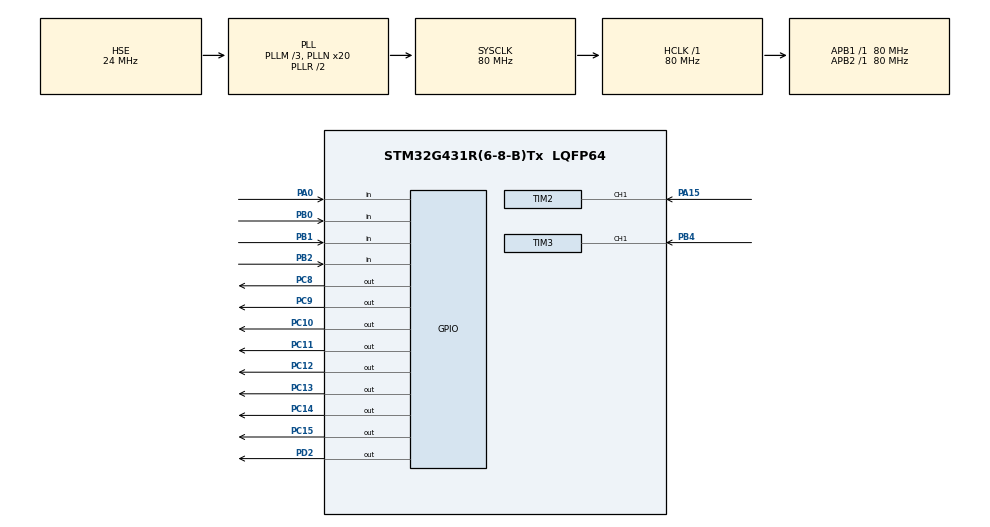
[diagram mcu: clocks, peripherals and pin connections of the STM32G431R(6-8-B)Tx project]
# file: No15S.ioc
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Mcu.Family=STM32G4
Mcu.Name=STM32G431R(6-8-B)Tx
Mcu.Package=LQFP64
NVIC.PriorityGroup=NVIC_PRIORITYGROUP_4
NVIC.TIM1_TRG_COM_TIM17_IRQn=true\:0\:0\:false\:false\:true\:true\:true\:true
NVIC.TIM2_IRQn=true\:0\:0\:false\:false\:true\:true\:true\:true
NVIC.TIM3_IRQn=true\:0\:0\:false\:false\:true\:true\:true\:true
PA0.GPIO_PuPd=GPIO_PULLUP
PA0.Signal=GPIO_Input
PA13.Mode=Serial_Wire
PA13.Signal=SYS_JTMS-SWDIO
PA14.Mode=Serial_Wire
PA14.Signal=SYS_JTCK-SWCLK
PA15.Signal=S_TIM2_CH1
PB0.GPIO_PuPd=GPIO_PULLUP
PB0.Signal=GPIO_Input
PB1.GPIO_PuPd=GPIO_PULLUP
PB1.Signal=GPIO_Input
PB2.GPIO_PuPd=GPIO_PULLUP
PB2.Signal=GPIO_Input
PB4.Signal=S_TIM3_CH1
PC10.PinState=GPIO_PIN_SET
PC10.Signal=GPIO_Output
PC11.PinState=GPIO_PIN_SET
PC11.Signal=GPIO_Output
PC12.PinState=GPIO_PIN_SET
PC12.Signal=GPIO_Output
PC13.PinState=GPIO_PIN_SET
PC13.Signal=GPIO_Output
PC14-OSC32_IN.PinState=GPIO_PIN_SET
PC14-OSC32_IN.Signal=GPIO_Output
PC15-OSC32_OUT.PinState=GPIO_PIN_SET
PC15-OSC32_OUT.Signal=GPIO_Output
PC8.PinState=GPIO_PIN_SET
PC8.Signal=GPIO_Output
PC9.PinState=GPIO_PIN_SET
PC9.Signal=GPIO_Output
PD2.Signal=GPIO_Output
PF0-OSC_IN.Mode=HSE-External-Oscillator
PF0-OSC_IN.Signal=RCC_OSC_IN
PF1-OSC_OUT.Mode=HSE-External-Oscillator
PF1-OSC_OUT.Signal=RCC_OSC_OUT
ProjectManager.HeapSize=0x200
ProjectManager.StackSize=0x400
ProjectManager.TargetToolchain=MDK-ARM V5.32
RCC.ADC12Freq_Value=80000000
RCC.AHBFreq_Value=80000000
RCC.APB1Freq_Value=80000000
RCC.APB1TimFreq_Value=80000000
RCC.APB2Freq_Value=80000000
RCC.APB2TimFreq_Value=80000000
RCC.CortexFreq_Value=80000000
RCC.EXTERNAL_CLOCK_VALUE=12288000
RCC.HCLKFreq_Value=80000000
RCC.HSE_VALUE=24000000
RCC.HSI48_VALUE=48000000
RCC.HSI_VALUE=16000000
RCC.LSE_VALUE=32768
RCC.PLLM=RCC_PLLM_DIV3
RCC.PLLN=20
RCC.PLLSourceVirtual=RCC_PLLSOURCE_HSE
RCC.SYSCLKFreq_VALUE=80000000
RCC.SYSCLKSource=RCC_SYSCLKSOURCE_PLLCLK
RCC.USBFreq_Value=80000000
RCC.VCOOutputFreq_Value=160000000
SH.S_TIM2_CH1.0=TIM2_CH1,Input_Capture1_from_TI1
SH.S_TIM3_CH1.0=TIM3_CH1,Input_Capture1_from_TI1
TIM17.PeriodNoDither=10000-1
TIM17.Prescaler=80-1
TIM2.Channel-Input_Capture1_from_TI1=TIM_CHANNEL_1
TIM2.Prescaler=80-1
TIM3.Channel-Input_Capture1_from_TI1=TIM_CHANNEL_1
TIM3.Prescaler=80-1
VP_SYS_VS_DBSignals.Mode=DisableDeadBatterySignals
VP_TIM17_VS_ClockSourceINT.Mode=Enable_Timer
VP_TIM2_VS_ClockSourceINT.Mode=Internal
VP_TIM3_VS_ClockSourceINT.Mode=Internal
board=custom

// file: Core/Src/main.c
/* USER CODE BEGIN Header */
/**
  ******************************************************************************
  * @file           : main.c
  * @brief          : Main program body
  ******************************************************************************
  * @attention
  *
  * Copyright (c) 2024 STMicroelectronics.
  * All rights reserved.
  *
  * This software is licensed under terms that can be found in the LICENSE file
  * in the root directory of this software component.
  * If no LICENSE file comes with this software, it is provided AS-IS.
  *
  ******************************************************************************
  */
/* USER CODE END Header */
#include "main.h"
#include "tim.h"
#include "gpio.h"

/* USER CODE BEGIN Includes */
#include "mymain.h"

/* USER CODE END Includes */

void SystemClock_Config(void);

/* USER CODE BEGIN 0 */
char text[50];
int A_frq,B_frq;
int A_pri,B_pri;
int PX=0,PD=1000,PH=5000;
int NDA=0,NDB=0,NHA,NHB;
int A_data[30],B_data[30];
uint8_t aflag=0,bflag=0;

void IC_handle(){
	static uint8_t ic_l=1,ic_r=0;
	if(uwTick%100>50)ic_r=1;
	else ic_r=0;

	if(ic_l==0&&ic_r==1){
		A_frq=(1000000/ic1)+PX;
		B_frq=(1000000/ic2)+PX;

		A_pri=1000000/A_frq;
		B_pri=1000000/B_frq;

		//PH
		static uint8_t pha_l=1,pha_r=0,phb_l=1,phb_r=0;
		//A
		if(A_frq>PH)pha_r=1;
		else pha_r=0;

		if(pha_l==0&&pha_r==1)NHA++;
		pha_l=pha_r;

		//B
		if(B_frq>PH)phb_r=1;
		else phb_r=0;

		if(phb_l==0&&phb_r==1)NHB++;
		phb_l=phb_r;

		//PD
		A_data[aflag]=A_frq;
		aflag=(aflag+1)%30;
		B_data[bflag]=B_frq;
		bflag=(bflag+1)%30;

		int amin,amax,bmin,bmax;
		uint8_t amark,bmark;
		amark=bmark=0;
//		amin=bmin=50000;
//		amax=bmax=-50000;
		for(int i=0;i<30;i++){
			if(A_data[i]==0x01010101)continue;

			amark++;
			if(amark==1)amin=amax=A_data[i];
			if(A_data[i]<amin)amin=A_data[i];
			if(A_data[i]>amax)amax=A_data[i];
		}
		if(amax-amin>PD&&amark>0){
			NDA++;
			memset(A_data,1,sizeof(A_data));
			aflag=0;
		}

		for(int i=0;i<30;i++){
			if(B_data[i]==0x01010101)continue;

			bmark++;
			if(bmark==1)bmin=bmax=B_data[i];
			if(B_data[i]<bmin)bmin=B_data[i];
			if(B_data[i]>bmax)bmax=B_data[i];
		}
		if(bmax-bmin>PD&&bmark>0){
			NDB++;
			memset(B_data,1,sizeof(B_data));
			bflag=0;
		}
	}

	ic_l=ic_r;

}

uint8_t lcd_flag=0;
uint8_t data_swit=0,para_swit=0;
void lcd_sch(){
	if(lcd_flag==0){

		if(data_swit==0){
			sprintf(text,"        DATA  ");
			LCD_DisplayStringLine(Line1, (unsigned char *)text);

			if(A_frq<0)sprintf(text,"     A=NULL    ");
			else if(A_frq<1000)sprintf(text,"     A=%dHz    ",A_frq);
			else	sprintf(text,"     A=%.2fKHz    ",(float)A_frq/1000);
			LCD_DisplayStringLine(Line3, (unsigned char *)text);

			if(B_frq<0)sprintf(text,"     B=NULL    ");
			else if(B_frq<1000)sprintf(text,"     B=%dHz    ",B_frq);
			else	sprintf(text,"     B=%.2fKHz    ",(float)B_frq/1000);
			LCD_DisplayStringLine(Line4, (unsigned char *)text);
		}

		else{
			sprintf(text,"        DATA  ");
			LCD_DisplayStringLine(Line1, (unsigned char *)text);

			if(A_pri<0)sprintf(text,"     A=NULL    ");
			else if(A_pri<1000)sprintf(text,"     A=%dus    ",A_pri);
			else	sprintf(text,"     A=%.2fms    ",(float)A_pri/1000);
			LCD_DisplayStringLine(Line3, (unsigned char *)text);

			if(B_pri<0)sprintf(text,"     B=NULL    ");
			else if(B_pri<1000)sprintf(text,"     B=%dus    ",B_pri);
			else	sprintf(text,"     B=%.2fms    ",(float)B_pri/1000);
			LCD_DisplayStringLine(Line4, (unsigned char *)text);
		}
	}

	if(lcd_flag==1){
		sprintf(text,"        PARA  ");
		LCD_DisplayStringLine(Line1, (unsigned char *)text);

		sprintf(text,"     PD=%dHz  ",PD);
		LCD_DisplayStringLine(Line3, (unsigned char *)text);

		sprintf(text,"     PH=%dHz  ",PH);
		LCD_DisplayStringLine(Line4, (unsigned char *)text);

		sprintf(text,"     PX=%dHz  ",PX);
		LCD_DisplayStringLine(Line5, (unsigned char *)text);

	}

	if(lcd_flag==2){
		sprintf(text,"        RECD  ");
		LCD_DisplayStringLine(Line1, (unsigned char *)text);

		sprintf(text,"     NDA=%d  ",NDA);
		LCD_DisplayStringLine(Line3, (unsigned char *)text);

		sprintf(text,"     NDB=%d  ",NDB);
		LCD_DisplayStringLine(Line4, (unsigned char *)text);

		sprintf(text,"     NHA=%d  ",NHA);
		LCD_DisplayStringLine(Line5, (unsigned char *)text);

		sprintf(text,"     NHB=%d  ",NHB);
		LCD_DisplayStringLine(Line6, (unsigned char *)text);
	}
}

void key_handle(){
	if(key[4].flag==1){
		lcd_flag=(lcd_flag+1)%3;
		LCD_Clear(Black);

		if(lcd_flag==0)data_swit=0;
		if(lcd_flag==1)para_swit=0;

		key[4].flag=0;
	}

	if(key[3].flag==1){
		if(lcd_flag==0){
			data_swit=(data_swit+1)%2;
			LCD_Clear(Black);
		}

		if(lcd_flag==1){
			para_swit=(para_swit+1)%3;
		}

		key[3].flag=0;
	}

	if(key[3].flag==3){
		if(lcd_flag==2){
			NDA=NDB=NHA=NHB=0;
			memset(A_data,1,sizeof(A_data));
			aflag=0;

			memset(B_data,1,sizeof(B_data));
			bflag=0;
		}

		key[3].flag=0;
	}

	if(key[1].flag==1){
		if(lcd_flag==1){
			if(para_swit==0)PD+=100;
			if(para_swit==1)PH+=100;
			if(para_swit==2)PX+=100;
		}

		key[1].flag=0;
	}

	if(key[2].flag==1){
		if(lcd_flag==1){
			if(para_swit==0)PD-=100;
			if(para_swit==1)PH-=100;
			if(para_swit==2)PX-=100;
		}

		key[2].flag=0;
	}
}

void led_handle(){
	if(lcd_flag==0)led_sta|=(0x1<<1);
	else led_sta &=~(0x1<<1);

	if(A_frq>PH)led_sta|=(0x1<<2);
	else led_sta &=~(0x1<<2);

	if(B_frq>PH)led_sta|=(0x1<<3);
	else led_sta &=~(0x1<<3);

	if(NDA>=3||NDB>=3)led_sta|=(0x1<<8);
	else led_sta &=~(0x1<<8);
}

/* USER CODE END 0 */

int main(void)
{

  /* MCU Configuration--------------------------------------------------------*/

  /* Reset of all peripherals, Initializes the Flash interface and the Systick. */
  HAL_Init();

  /* Configure the system clock */
  SystemClock_Config();

  /* Initialize all configured peripherals */
  MX_GPIO_Init();
  MX_TIM2_Init();
  MX_TIM3_Init();
  MX_TIM17_Init();
  /* USER CODE BEGIN 2 */

	//lcd
	LCD_Init();

  LCD_Clear(Black);
  LCD_SetBackColor(Black);
  LCD_SetTextColor(White);

//  LCD_DisplayStringLine(Line4, (unsigned char *)"    Hello,world.   ");

	//led
	led_sta=0x00;
	led_set();

	//key
	HAL_TIM_Base_Start_IT(&htim17);

	//IC
	HAL_TIM_Base_Start_IT(&htim2);
	HAL_TIM_IC_Start_IT(&htim2,TIM_CHANNEL_1);
	HAL_TIM_IC_Start(&htim2,TIM_CHANNEL_1);

	HAL_TIM_Base_Start_IT(&htim3);
	HAL_TIM_IC_Start_IT(&htim3,TIM_CHANNEL_1);
	HAL_TIM_IC_Start(&htim3,TIM_CHANNEL_1);

	//PD
	memset(A_data,1,sizeof(A_data));
	memset(B_data,1,sizeof(B_data));

	HAL_Delay(10);
  /* USER CODE END 2 */

  /* Infinite loop */
  /* USER CODE BEGIN WHILE */
  while (1)
  {

//		for(int i=1;i<=4;i++){
//			if(key[i].flag!=0){
//				sprintf(text,"B%d is %d  ",i,key[i].flag);
//				LCD_DisplayStringLine(Line4, (unsigned char *)text);

//
//				key[i].flag=0;
//			}
//		}
//
//
//		sprintf(text,"ic1=%d ic2=%d  ",ic1,ic2);
//		LCD_DisplayStringLine(Line5, (unsigned char *)text);

		IC_handle();
		lcd_sch();
		key_handle();
		led_handle();
		led_set();

//		sprintf(text,"NDA=%d NDB=%d  ",NDA,NDB);
//		LCD_DisplayStringLine(Line7, (unsigned char *)text);
//
//		sprintf(text,"NHA=%d NHB=%d  ",NHA,NHB);
//		LCD_DisplayStringLine(Line8, (unsigned char *)text);
//
//

    /* USER CODE END WHILE */

  }
}

void SystemClock_Config(void)
{
  RCC_OscInitTypeDef RCC_OscInitStruct = {0};
  RCC_ClkInitTypeDef RCC_ClkInitStruct = {0};

  /** Configure the main internal regulator output voltage
  */
  HAL_PWREx_ControlVoltageScaling(PWR_REGULATOR_VOLTAGE_SCALE1);

  /** Initializes the RCC Oscillators according to the specified parameters
  * in the RCC_OscInitTypeDef structure.
  */
  RCC_OscInitStruct.OscillatorType = RCC_OSCILLATORTYPE_HSE;
  RCC_OscInitStruct.HSEState = RCC_HSE_ON;
  RCC_OscInitStruct.PLL.PLLState = RCC_PLL_ON;
  RCC_OscInitStruct.PLL.PLLSource = RCC_PLLSOURCE_HSE;
  RCC_OscInitStruct.PLL.PLLM = RCC_PLLM_DIV3;
  RCC_OscInitStruct.PLL.PLLN = 20;
  RCC_OscInitStruct.PLL.PLLP = RCC_PLLP_DIV2;
  RCC_OscInitStruct.PLL.PLLQ = RCC_PLLQ_DIV2;
  RCC_OscInitStruct.PLL.PLLR = RCC_PLLR_DIV2;
  if (HAL_RCC_OscConfig(&RCC_OscInitStruct) != HAL_OK)
  {
    Error_Handler();
  }

  /** Initializes the CPU, AHB and APB buses clocks
  */
  RCC_ClkInitStruct.ClockType = RCC_CLOCKTYPE_HCLK|RCC_CLOCKTYPE_SYSCLK
                              |RCC_CLOCKTYPE_PCLK1|RCC_CLOCKTYPE_PCLK2;
  RCC_ClkInitStruct.SYSCLKSource = RCC_SYSCLKSOURCE_PLLCLK;
  RCC_ClkInitStruct.AHBCLKDivider = RCC_SYSCLK_DIV1;
  RCC_ClkInitStruct.APB1CLKDivider = RCC_HCLK_DIV1;
  RCC_ClkInitStruct.APB2CLKDivider = RCC_HCLK_DIV1;

  if (HAL_RCC_ClockConfig(&RCC_ClkInitStruct, FLASH_LATENCY_2) != HAL_OK)
  {
    Error_Handler();
  }
}

void Error_Handler(void)
{
  __disable_irq();
  while (1)
  {
  }
}
